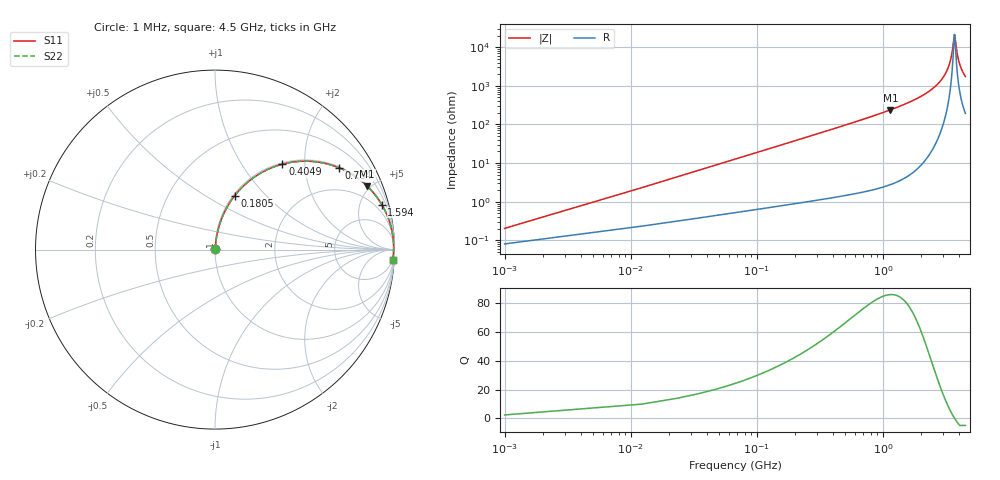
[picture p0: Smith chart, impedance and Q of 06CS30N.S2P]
! Coilcraft 0603CS-30N Chip Inductor
! 21 May 2002
# MHZ S MA R 50
!Freq  MagS11  AngS11  MagS21  AngS21  MagS12  AngS12  MagS22  AngS22
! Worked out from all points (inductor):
!   402 points, 1 MHz to 4.5 GHz, reference 50 ohm
!   read as one part in series: L = 30 nH near 23.44 MHz
!   highest Q = 86 at 1.145 GHz (marker M1), where L = 33.2 nH
!   self-resonance near 3.681 GHz
!   S11 on the Smith chart (normalised r, x): 1 MHz: 1.00, +0.00; 180.5 MHz: 1.02, +0.68; 404.9 MHz: 1.03, +1.55; 764 MHz: 1.04, +3.01; 1.594 GHz: 1.09, +7.39; 4.5 GHz: 5, -35
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1  0.002051 66.6  0.9992 -0.1  0.9992 -0.1  0.002051 66.6
34.66  0.06506 82.9  0.9941 -3.7  0.9941 -3.7  0.06506 82.9
45.88  0.08591 82.2  0.992 -4.9  0.992 -4.9  0.08591 82.2
101.98  0.1879 77.3  0.976 -10.8  0.976 -10.8  0.1879 77.3
180.52  0.3205 69.9  0.9393 -18.7  0.9393 -18.7  0.3205 69.9
404.92  0.6065 51.7  0.785 -37.3  0.785 -37.3  0.6065 51.7
752.74  0.8238 33.8  0.5564 -55.5  0.5564 -55.5  0.8238 33.8
763.96  0.828 33.4  0.5503 -55.9  0.5503 -55.9  0.828 33.4
1145.44  0.9187 22.6  0.3845 -66.7  0.3845 -66.7  0.9187 22.6
1504.48  0.9562 16.3  0.2811 -73.0  0.2811 -73.0  0.9562 16.3
1594.24  0.9622 15.1  0.2604 -74.2  0.2604 -74.2  0.9622 15.1
2256.22  0.9864 8.4  0.1453 -80.4  0.1453 -80.4  0.9864 8.4
3007.96  0.9946 3.4  0.05904 -83.1  0.05904 -83.1  0.9946 3.4
3243.58  0.9954 2.1  0.03731 -81.8  0.03731 -81.8  0.9954 2.1
3423.1  0.9955 1.2  0.02202 -77.7  0.02202 -77.7  0.9955 1.2
3535.3  0.9955 0.7  0.01314 -69.7  0.01314 -69.7  0.9955 0.7
3681.16  0.9953 0.0  0.004725 -9.9  0.004725 -9.9  0.9953 0.0
3714.82  0.9953 -0.1  0.005044 20.7  0.005044 20.7  0.9953 -0.1
3759.7  0.9952 -0.3  0.007091 47.1  0.007091 47.1  0.9952 -0.3
3871.9  0.9949 -0.8  0.01452 69.0  0.01452 69.0  0.9949 -0.8
4017.76  0.9944 -1.4  0.02477 76.3  0.02477 76.3  0.9944 -1.4
4500  0.992 -3.3  0.05712 80.4  0.05712 80.4  0.992 -3.3
